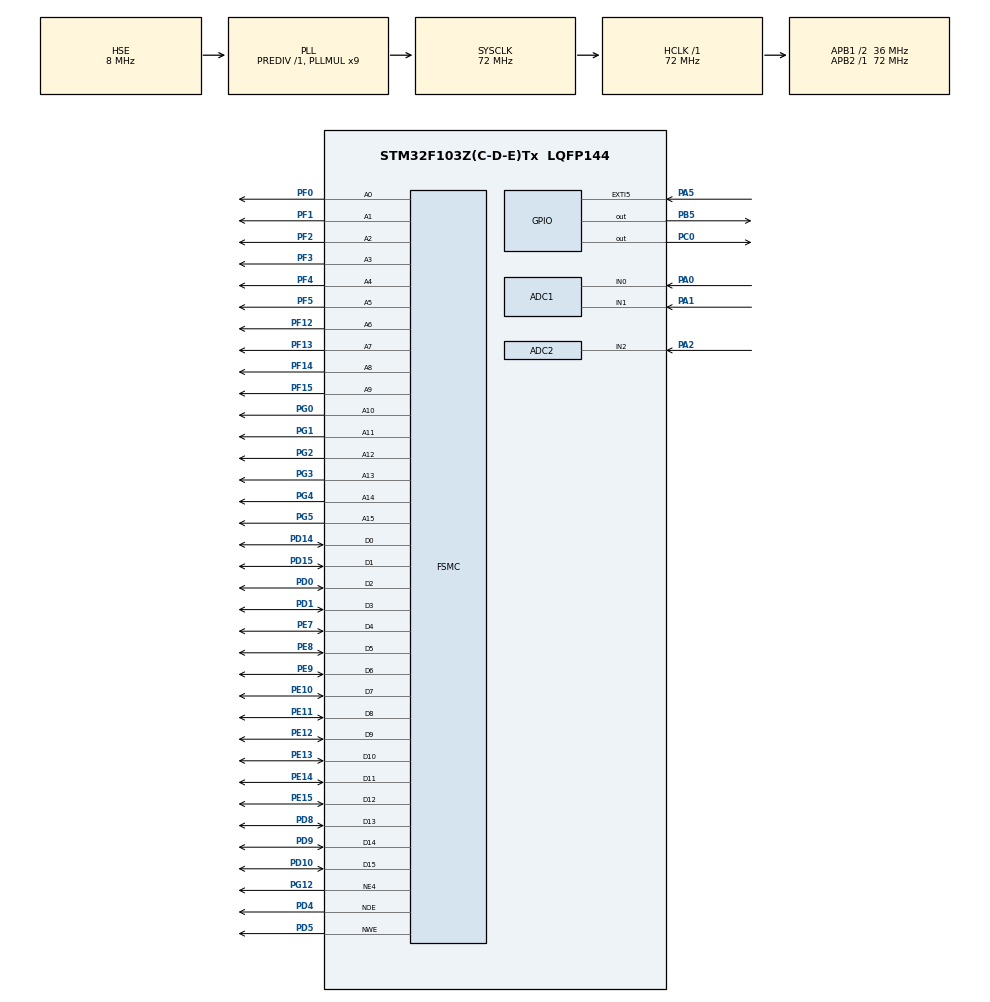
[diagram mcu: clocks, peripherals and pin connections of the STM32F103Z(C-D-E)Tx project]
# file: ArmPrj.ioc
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ADC1.Channel-0\#ChannelRegularConversion=ADC_CHANNEL_1
ADC1.Channel-1\#ChannelRegularConversion=ADC_CHANNEL_0
ADC1.ContinuousConvMode=DISABLE
ADC1.DiscontinuousConvMode=ENABLE
ADC1.NbrOfConversion=2
ADC1.NbrOfConversionFlag=1
ADC1.Rank-0\#ChannelRegularConversion=1
ADC1.Rank-1\#ChannelRegularConversion=2
ADC1.SamplingTime-0\#ChannelRegularConversion=ADC_SAMPLETIME_1CYCLE_5
ADC1.SamplingTime-1\#ChannelRegularConversion=ADC_SAMPLETIME_1CYCLE_5
ADC1.master=1
ADC2.Channel-0\#ChannelRegularConversion=ADC_CHANNEL_2
ADC2.NbrOfConversionFlag=1
ADC2.Rank-0\#ChannelRegularConversion=1
ADC2.SamplingTime-0\#ChannelRegularConversion=ADC_SAMPLETIME_1CYCLE_5
FSMC.AddressSetupTime1=1
FSMC.BusTurnAroundDuration1=0
FSMC.DataSetupTime1=0x0f
FSMC.ExtendedBusTurnAroundDuration1=0
FSMC.ExtendedDataSetupTime1=5
FSMC.ExtendedMode1=FSMC_EXTENDED_MODE_ENABLE
Mcu.Family=STM32F1
Mcu.Name=STM32F103Z(C-D-E)Tx
Mcu.Package=LQFP144
NVIC.EXTI9_5_IRQn=true\:1\:0\:true\:false\:true\:true\:true\:true
NVIC.PriorityGroup=NVIC_PRIORITYGROUP_4
OSC_IN.Mode=HSE-External-Oscillator
OSC_IN.Signal=RCC_OSC_IN
OSC_OUT.Mode=HSE-External-Oscillator
OSC_OUT.Signal=RCC_OSC_OUT
PA0-WKUP.Signal=ADCx_IN0
PA1.Signal=ADCx_IN1
PA13.Mode=Serial_Wire
PA13.Signal=SYS_JTMS-SWDIO
PA14.Mode=Serial_Wire
PA14.Signal=SYS_JTCK-SWCLK
PA2.Signal=ADCx_IN2
PA5.GPIO_ModeDefaultEXTI=GPIO_MODE_IT_FALLING
PA5.GPIO_PuPd=GPIO_PULLUP
PA5.Signal=GPXTI5
PB5.GPIO_PuPd=GPIO_PULLUP
PB5.Signal=GPIO_Output
PC0.GPIO_PuPd=GPIO_PULLUP
PC0.GPIO_Speed=GPIO_SPEED_FREQ_HIGH
PC0.PinState=GPIO_PIN_SET
PC0.Signal=GPIO_Output
PD0.Signal=FSMC_D2_DA2
PD1.Signal=FSMC_D3_DA3
PD10.Signal=FSMC_D15_DA15
PD14.Signal=FSMC_D0_DA0
PD15.Signal=FSMC_D1_DA1
PD4.Signal=FSMC_NOE
PD5.Signal=FSMC_NWE
PD8.Signal=FSMC_D13_DA13
PD9.Signal=FSMC_D14_DA14
PE10.Signal=FSMC_D7_DA7
PE11.Signal=FSMC_D8_DA8
PE12.Signal=FSMC_D9_DA9
PE13.Signal=FSMC_D10_DA10
PE14.Signal=FSMC_D11_DA11
PE15.Signal=FSMC_D12_DA12
PE7.Signal=FSMC_D4_DA4
PE8.Signal=FSMC_D5_DA5
PE9.Signal=FSMC_D6_DA6
PF0.Signal=FSMC_A0
PF1.Signal=FSMC_A1
PF12.Signal=FSMC_A6
PF13.Signal=FSMC_A7
PF14.Signal=FSMC_A8
PF15.Signal=FSMC_A9
PF2.Signal=FSMC_A2
PF3.Signal=FSMC_A3
PF4.Signal=FSMC_A4
PF5.Signal=FSMC_A5
PG0.Signal=FSMC_A10
PG1.Signal=FSMC_A11
PG12.Mode=NorPsramChipSelect4_1
PG12.Signal=FSMC_NE4
PG2.Signal=FSMC_A12
PG3.Signal=FSMC_A13
PG4.Signal=FSMC_A14
PG5.Signal=FSMC_A15
ProjectManager.HeapSize=0x200
ProjectManager.StackSize=0x400
ProjectManager.TargetToolchain=SW4STM32
RCC.ADCPresc=RCC_ADCPCLK2_DIV6
RCC.AHBFreq_Value=72000000
RCC.APB1CLKDivider=RCC_HCLK_DIV2
RCC.APB1Freq_Value=36000000
RCC.APB1TimFreq_Value=72000000
RCC.APB2Freq_Value=72000000
RCC.APB2TimFreq_Value=72000000
RCC.HCLKFreq_Value=72000000
RCC.PLLMUL=RCC_PLL_MUL9
RCC.PLLSourceVirtual=RCC_PLLSOURCE_HSE
RCC.SYSCLKFreq_VALUE=72000000
RCC.SYSCLKSource=RCC_SYSCLKSOURCE_PLLCLK
RCC.USBFreq_Value=72000000
SH.ADCx_IN0.0=ADC1_IN0,IN0
SH.ADCx_IN1.0=ADC1_IN1,IN1
SH.ADCx_IN2.0=ADC2_IN2,IN2
SH.FSMC_A0.0=FSMC_A0,16b-a1
SH.FSMC_A1.0=FSMC_A1,16b-a1
SH.FSMC_A10.0=FSMC_A10,16b-a1
SH.FSMC_A11.0=FSMC_A11,16b-a1
SH.FSMC_A12.0=FSMC_A12,16b-a1
SH.FSMC_A13.0=FSMC_A13,16b-a1
SH.FSMC_A14.0=FSMC_A14,16b-a1
SH.FSMC_A15.0=FSMC_A15,16b-a1
SH.FSMC_A2.0=FSMC_A2,16b-a1
SH.FSMC_A3.0=FSMC_A3,16b-a1
SH.FSMC_A4.0=FSMC_A4,16b-a1
SH.FSMC_A5.0=FSMC_A5,16b-a1
SH.FSMC_A6.0=FSMC_A6,16b-a1
SH.FSMC_A7.0=FSMC_A7,16b-a1
SH.FSMC_A8.0=FSMC_A8,16b-a1
SH.FSMC_A9.0=FSMC_A9,16b-a1
SH.FSMC_D0_DA0.0=FSMC_D0,16b-d1
SH.FSMC_D10_DA10.0=FSMC_D10,16b-d1
SH.FSMC_D11_DA11.0=FSMC_D11,16b-d1
SH.FSMC_D12_DA12.0=FSMC_D12,16b-d1
SH.FSMC_D13_DA13.0=FSMC_D13,16b-d1
SH.FSMC_D14_DA14.0=FSMC_D14,16b-d1
SH.FSMC_D15_DA15.0=FSMC_D15,16b-d1
SH.FSMC_D1_DA1.0=FSMC_D1,16b-d1
SH.FSMC_D2_DA2.0=FSMC_D2,16b-d1
SH.FSMC_D3_DA3.0=FSMC_D3,16b-d1
SH.FSMC_D4_DA4.0=FSMC_D4,16b-d1
SH.FSMC_D5_DA5.0=FSMC_D5,16b-d1
SH.FSMC_D6_DA6.0=FSMC_D6,16b-d1
SH.FSMC_D7_DA7.0=FSMC_D7,16b-d1
SH.FSMC_D8_DA8.0=FSMC_D8,16b-d1
SH.FSMC_D9_DA9.0=FSMC_D9,16b-d1
SH.FSMC_NOE.0=FSMC_NOE,Sram1
SH.FSMC_NWE.0=FSMC_NWE,Sram1
TIM6.AutoReloadPreload=TIM_AUTORELOAD_PRELOAD_ENABLE
TIM6.Prescaler=71
VP_TIM6_VS_ClockSourceINT.Mode=Enable_Timer
board=custom

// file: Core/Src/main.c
/* USER CODE BEGIN Header */
/**
  ******************************************************************************
  * @file           : main.c
  * @brief          : Main program body
  ******************************************************************************
  * @attention
  *
  * Copyright (c) 2022 STMicroelectronics.
  * All rights reserved.
  *
  * This software is licensed under terms that can be found in the LICENSE file
  * in the root directory of this software component.
  * If no LICENSE file comes with this software, it is provided AS-IS.
  *
  ******************************************************************************
  */
/* USER CODE END Header */
#include <stdbool.h>
#include "main.h"
#include "adc.h"
#include "tim.h"
#include "gpio.h"
#include "fsmc.h"

/* USER CODE BEGIN Includes */
#include "lcd.h"
#include "ps2.h"
#include "gamelogic.h"
#include "gamerenderer.h"
#include "utils.h"

/* USER CODE END Includes */

/* USER CODE BEGIN PV */
volatile uint8_t TRUE = 1;
uint8_t map[41][41];
/**
 * 0 : sand
 * 1 : brick
 * 2 : home
 * 3 : rock
 * 4 : border
 * 5*: ocean
 */
uint8_t dirty_map[41][41];
uint8_t bul_num;
//int8_t position;
//uint8_t speed = 7;
uint8_t level = 0;
uint16_t score = 0;
uint8_t phrase = TITLE, phrase_buf;
uint8_t remain_enemy;
Tank player, enemy[ENEMY_MAX];
Bullet bullet[BULLET_NUM];
Level_Info *lvl_info;
/* USER CODE END PV */

void SystemClock_Config(void);

int main(void)
{

    /* MCU Configuration--------------------------------------------------------*/

    /* Reset of all peripherals, Initializes the Flash interface and the Systick. */
    HAL_Init();

    /* Configure the system clock */
    SystemClock_Config();

    /* Initialize all configured peripherals */
    MX_GPIO_Init();
    MX_FSMC_Init();
    MX_ADC1_Init();
    MX_TIM6_Init();
    MX_ADC2_Init();
    /* USER CODE BEGIN 2 */
    // Hardware Initialization
    UTILS_Init(&htim6, &hadc2);
    LCD_Init();     //LCD 显示屏初始化
    PS2_Init(&hadc1);

    /* USER CODE END 2 */

    /* Infinite loop */
    /* USER CODE BEGIN WHILE */

    while (TRUE)
    {
        phrase_buf = phrase;

        RDR_PrintScreen();
        PS2_StartSampling();

        switch (phrase)
        {
            case TITLE:
                if (PS2_GetDir() != STILL)
                    phrase = INIT;
                else if (PS2_GetPressed())
                    phrase = ACK;
                break;
            case INIT:
                // Game Init
                srand(UTILS_GetRNGSeed());
                AST_Init();
                LGC_Init();
                RDR_Render(1);

                phrase = PASS;

                break;
            case PASS:
                if (player.CD != 0)
                {
                    HAL_GPIO_WritePin(GPIOB, GPIO_PIN_5, GPIO_PIN_SET);
                } else
                    HAL_GPIO_WritePin(GPIOB, GPIO_PIN_5, GPIO_PIN_RESET);

                uint8_t dir = PS2_GetDir();
                uint8_t fire = PS2_GetPressed();

                phrase = LGC_Tick(dir, fire);

                RDR_Render(0);

                Delay_ms(80);

                break;
            case WIN:
                Delay_ms(800);

                if (level + 1 < LVL_NUM)
                {
                    level++;
                    phrase = INIT;
                } else
                {
                    level = 0;
                    PS2_ClearFlag();
                    phrase = ACK;
                }
                break;
            case LOSE:
                Delay_ms(800);

                level = 0;
                PS2_ClearFlag();
                phrase = TITLE;

                break;
            default:
                if (PS2_GetPressed())
                    phrase = TITLE;
                Delay_ms(500);
        }

        if (phrase_buf != phrase)
            switch (phrase)
            {
                case TITLE:
                case INIT:
                case ACK:
                    LCD_Clear(WHITE);
                default:
                    break;
            }
        /* USER CODE END WHILE */

    }
}

void SystemClock_Config(void)
{
    RCC_OscInitTypeDef RCC_OscInitStruct = {0};
    RCC_ClkInitTypeDef RCC_ClkInitStruct = {0};
    RCC_PeriphCLKInitTypeDef PeriphClkInit = {0};

    /** Initializes the RCC Oscillators according to the specified parameters
    * in the RCC_OscInitTypeDef structure.
    */
    RCC_OscInitStruct.OscillatorType = RCC_OSCILLATORTYPE_HSE;
    RCC_OscInitStruct.HSEState = RCC_HSE_ON;
    RCC_OscInitStruct.HSEPredivValue = RCC_HSE_PREDIV_DIV1;
    RCC_OscInitStruct.HSIState = RCC_HSI_ON;
    RCC_OscInitStruct.PLL.PLLState = RCC_PLL_ON;
    RCC_OscInitStruct.PLL.PLLSource = RCC_PLLSOURCE_HSE;
    RCC_OscInitStruct.PLL.PLLMUL = RCC_PLL_MUL9;
    if (HAL_RCC_OscConfig(&RCC_OscInitStruct) != HAL_OK)
    {
        Error_Handler();
    }

    /** Initializes the CPU, AHB and APB buses clocks
    */
    RCC_ClkInitStruct.ClockType = RCC_CLOCKTYPE_HCLK | RCC_CLOCKTYPE_SYSCLK
                                  | RCC_CLOCKTYPE_PCLK1 | RCC_CLOCKTYPE_PCLK2;
    RCC_ClkInitStruct.SYSCLKSource = RCC_SYSCLKSOURCE_PLLCLK;
    RCC_ClkInitStruct.AHBCLKDivider = RCC_SYSCLK_DIV1;
    RCC_ClkInitStruct.APB1CLKDivider = RCC_HCLK_DIV2;
    RCC_ClkInitStruct.APB2CLKDivider = RCC_HCLK_DIV1;

    if (HAL_RCC_ClockConfig(&RCC_ClkInitStruct, FLASH_LATENCY_2) != HAL_OK)
    {
        Error_Handler();
    }
    PeriphClkInit.PeriphClockSelection = RCC_PERIPHCLK_ADC;
    PeriphClkInit.AdcClockSelection = RCC_ADCPCLK2_DIV6;
    if (HAL_RCCEx_PeriphCLKConfig(&PeriphClkInit) != HAL_OK)
    {
        Error_Handler();
    }
}

void Error_Handler(void)
{
    /* USER CODE BEGIN Error_Handler_Debug */
    /* User can add his own implementation to report the HAL error return state */
    __disable_irq();
    while (TRUE)
    {
    }
    /* USER CODE END Error_Handler_Debug */
}
